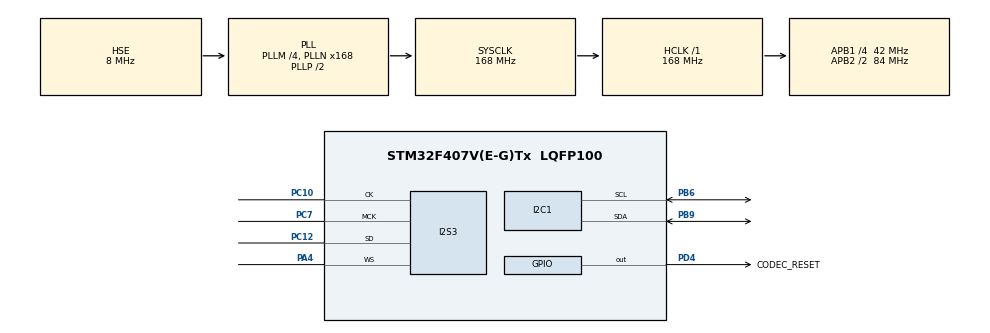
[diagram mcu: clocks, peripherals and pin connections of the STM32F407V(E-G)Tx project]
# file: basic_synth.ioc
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Dma.Request0=SPI3_TX
Dma.SPI3_TX.0.Direction=DMA_MEMORY_TO_PERIPH
Dma.SPI3_TX.0.FIFOMode=DMA_FIFOMODE_DISABLE
Dma.SPI3_TX.0.Instance=DMA1_Stream5
Dma.SPI3_TX.0.MemDataAlignment=DMA_MDATAALIGN_HALFWORD
Dma.SPI3_TX.0.MemInc=DMA_MINC_ENABLE
Dma.SPI3_TX.0.Mode=DMA_CIRCULAR
Dma.SPI3_TX.0.PeriphDataAlignment=DMA_PDATAALIGN_HALFWORD
Dma.SPI3_TX.0.PeriphInc=DMA_PINC_DISABLE
Dma.SPI3_TX.0.Priority=DMA_PRIORITY_HIGH
I2S3.AudioFreq=I2S_AUDIOFREQ_48K
I2S3.ErrorAudioFreq=0.09 %
I2S3.FullDuplexMode=I2S_FULLDUPLEXMODE_DISABLE
I2S3.Instance=SPI$Index
I2S3.RealAudioFreq=48.046 KHz
I2S3.VirtualMode=I2S_MODE_MASTER
Mcu.Family=STM32F4
Mcu.Name=STM32F407V(E-G)Tx
Mcu.Package=LQFP100
NVIC.DMA1_Stream5_IRQn=true\:0\:0\:false\:false\:true\:false\:true
NVIC.PriorityGroup=NVIC_PRIORITYGROUP_4
PA4.Mode=Half_Duplex_Master
PA4.Signal=I2S3_WS
PB6.Mode=I2C
PB6.Signal=I2C1_SCL
PB9.Mode=I2C
PB9.Signal=I2C1_SDA
PC10.Mode=Half_Duplex_Master
PC10.Signal=I2S3_CK
PC12.Mode=Half_Duplex_Master
PC12.Signal=I2S3_SD
PC7.Mode=Master_Clock_Activated
PC7.Signal=I2S3_MCK
PD4.GPIO_Label=CODEC_RESET
PD4.Signal=GPIO_Output
PH0-OSC_IN.Mode=HSE-External-Oscillator
PH0-OSC_IN.Signal=RCC_OSC_IN
PH1-OSC_OUT.Mode=HSE-External-Oscillator
PH1-OSC_OUT.Signal=RCC_OSC_OUT
ProjectManager.HeapSize=0x200
ProjectManager.StackSize=0x400
ProjectManager.TargetToolchain=STM32CubeIDE
RCC.48MHZClocksFreq_Value=84000000
RCC.AHBFreq_Value=168000000
RCC.APB1CLKDivider=RCC_HCLK_DIV4
RCC.APB1Freq_Value=42000000
RCC.APB1TimFreq_Value=84000000
RCC.APB2CLKDivider=RCC_HCLK_DIV2
RCC.APB2Freq_Value=84000000
RCC.APB2TimFreq_Value=168000000
RCC.CortexFreq_Value=168000000
RCC.HCLKFreq_Value=168000000
RCC.HSE_VALUE=8000000
RCC.HSI_VALUE=16000000
RCC.LSE_VALUE=32768
RCC.PLLI2SN=123
RCC.PLLM=4
RCC.PLLN=168
RCC.PLLSourceVirtual=RCC_PLLSOURCE_HSE
RCC.SYSCLKFreq_VALUE=168000000
RCC.SYSCLKSource=RCC_SYSCLKSOURCE_PLLCLK
RCC.VCOOutputFreq_Value=336000000
board=custom

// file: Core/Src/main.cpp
/* USER CODE BEGIN Header */
/**
  ******************************************************************************
  * @file           : main.c
  * @brief          : Main program body
  ******************************************************************************
  * @attention
  *
  * <h2><center>&copy; Copyright (c) 2021 STMicroelectronics.
  * All rights reserved.</center></h2>
  *
  * This software component is licensed by ST under BSD 3-Clause license,
  * the "License"; You may not use this file except in compliance with the
  * License. You may obtain a copy of the License at:
  *                        opensource.org/licenses/BSD-3-Clause
  *
  ******************************************************************************
  */
/* USER CODE END Header */
#include "main.h"
#include "dma.h"
#include "i2c.h"
#include "i2s.h"
#include "gpio.h"

/* USER CODE BEGIN Includes */
#include "Codec.h"
#include "Synth.h"
/* USER CODE END Includes */

void SystemClock_Config(void);

/* USER CODE BEGIN 0 */
Codec codec;
Synth synth;

int16_t audiobuff[BUFF_LEN];

void make_sound(uint16_t start_index) {
	for (uint16_t i = 0; i < BUFF_LEN_DIV2; i++) {
		float signal = synth.calculate_oscilator();
		audiobuff[start_index + i] = (int16_t)signal;
		audiobuff[start_index + i + 1] = (int16_t)signal;
	}
}

void HAL_I2S_TxHalfCpltCallback(I2S_HandleTypeDef *hi2s)
{
  make_sound(0);
}

void HAL_I2S_TxCpltCallback(I2S_HandleTypeDef *hi2s)
{
  make_sound(BUFF_LEN_DIV2);
}
/* USER CODE END 0 */

int main(void)
{
  /* USER CODE BEGIN 1 */
	synth.pitch = 220.0f;
  /* USER CODE END 1 */

  /* MCU Configuration--------------------------------------------------------*/

  /* Reset of all peripherals, Initializes the Flash interface and the Systick. */
  HAL_Init();

  /* Configure the system clock */
  SystemClock_Config();

  /* Initialize all configured peripherals */
  MX_GPIO_Init();
  MX_DMA_Init();
  MX_I2C1_Init();
  MX_I2S3_Init();
  /* USER CODE BEGIN 2 */
  uint8_t status = codec.init();
  if(status != 0) {
	  return HAL_ERROR;
  }
  HAL_I2S_Transmit_DMA(&hi2s3, (uint16_t *)audiobuff, BUFF_LEN);
  /* USER CODE END 2 */

  /* Infinite loop */
  while (1)
  {

  }
}

void SystemClock_Config(void)
{
  RCC_OscInitTypeDef RCC_OscInitStruct = {0};
  RCC_ClkInitTypeDef RCC_ClkInitStruct = {0};
  RCC_PeriphCLKInitTypeDef PeriphClkInitStruct = {0};

  /** Configure the main internal regulator output voltage
  */
  __HAL_RCC_PWR_CLK_ENABLE();
  __HAL_PWR_VOLTAGESCALING_CONFIG(PWR_REGULATOR_VOLTAGE_SCALE1);
  /** Initializes the RCC Oscillators according to the specified parameters
  * in the RCC_OscInitTypeDef structure.
  */
  RCC_OscInitStruct.OscillatorType = RCC_OSCILLATORTYPE_HSE;
  RCC_OscInitStruct.HSEState = RCC_HSE_ON;
  RCC_OscInitStruct.PLL.PLLState = RCC_PLL_ON;
  RCC_OscInitStruct.PLL.PLLSource = RCC_PLLSOURCE_HSE;
  RCC_OscInitStruct.PLL.PLLM = 4;
  RCC_OscInitStruct.PLL.PLLN = 168;
  RCC_OscInitStruct.PLL.PLLP = RCC_PLLP_DIV2;
  RCC_OscInitStruct.PLL.PLLQ = 4;
  if (HAL_RCC_OscConfig(&RCC_OscInitStruct) != HAL_OK)
  {
    Error_Handler();
  }
  /** Initializes the CPU, AHB and APB buses clocks
  */
  RCC_ClkInitStruct.ClockType = RCC_CLOCKTYPE_HCLK|RCC_CLOCKTYPE_SYSCLK
                              |RCC_CLOCKTYPE_PCLK1|RCC_CLOCKTYPE_PCLK2;
  RCC_ClkInitStruct.SYSCLKSource = RCC_SYSCLKSOURCE_PLLCLK;
  RCC_ClkInitStruct.AHBCLKDivider = RCC_SYSCLK_DIV1;
  RCC_ClkInitStruct.APB1CLKDivider = RCC_HCLK_DIV4;
  RCC_ClkInitStruct.APB2CLKDivider = RCC_HCLK_DIV2;

  if (HAL_RCC_ClockConfig(&RCC_ClkInitStruct, FLASH_LATENCY_5) != HAL_OK)
  {
    Error_Handler();
  }
  PeriphClkInitStruct.PeriphClockSelection = RCC_PERIPHCLK_I2S;
  PeriphClkInitStruct.PLLI2S.PLLI2SN = 123;
  PeriphClkInitStruct.PLLI2S.PLLI2SR = 2;
  if (HAL_RCCEx_PeriphCLKConfig(&PeriphClkInitStruct) != HAL_OK)
  {
    Error_Handler();
  }
}

void Error_Handler(void)
{
}

/************************ (C) COPYRIGHT STMicroelectronics *****END OF FILE****/
